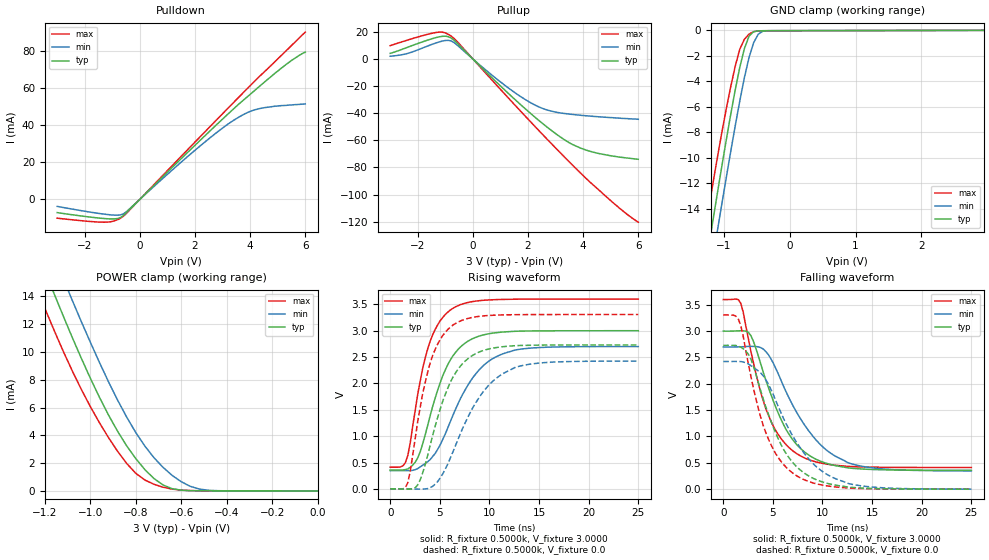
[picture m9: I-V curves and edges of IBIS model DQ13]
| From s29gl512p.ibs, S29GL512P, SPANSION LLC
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|   Model DQ13
[Model]  DQ13
Model_type I/O
Vinl =   0.9000V
Vinh =   2.1000V
Vmeas =  1.5000V
Cref =   30.0000pF
C_comp   2.0000pF   2.0000pF   2.0000pF
[Temperature Range]   25.0000   85.0000   -40.0000
[Pullup Reference]   3.0000V   2.7000V   3.6000V
[Pulldown Reference]   0.0V   0.0V   0.0V
[POWER Clamp Reference]   3.0000V   2.7000V   3.6000V
[GND Clamp Reference]   0.0V   0.0V   0.0V
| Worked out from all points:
|   slope of the pulldown table from 0 to 0.45 V, typ, clamps not added: 67.8 ohm
|   slope of the pullup table from 0 to 0.45 V, typ, clamps not added: 49.6 ohm
|   GND clamp passes 1 mA (typ) near -0.66 V on its own axis
|   POWER clamp passes 1 mA (typ) near -0.73 V on its own axis
|   rising waveform, R_fixture 0.5000k, V_fixture 3.0000: 20-80 % time 2.83ns typ, 3.85ns min, 2.22ns max; typ from 0.359 V to 3 V
|   rising waveform, R_fixture 0.5000k, V_fixture 0.0: 20-80 % time 2.88ns typ, 3.97ns min, 2.25ns max; typ from 0.001 V to 2.73 V
|   falling waveform, R_fixture 0.5000k, V_fixture 3.0000: 20-80 % time 3.6ns typ, 4.5ns min, 3.09ns max; typ from 3 V to 0.358 V
|   falling waveform, R_fixture 0.5000k, V_fixture 0.0: 20-80 % time 3.54ns typ, 4.36ns min, 3.07ns max; typ from 2.73 V to 0 V
[Pulldown]
|Voltage   I(typ)   I(min)   I(max)
-3V       -7.16mA    -3.81mA    -10.17mA
-1.2V     -10.46mA   -8.17mA    -12.3mA
-800mV    -10.33mA   -8.537mA   -10.91mA
-600mV    -8.754mA   -7.866mA   -9.131mA
2V        29.13mA    26.45mA    30.87mA
2.9V      41.85mA    37.29mA    44.61mA
3.5V      50.13mA    43.49mA    53.71mA
4V        56.56mA    47.38mA    61.25mA
4.4V      61.69mA    49.08mA    67.1mA
5.3V      72.66mA    50.63mA    80mA
5.8V      77.77mA    51.2mA     87.26mA
6V        79.3mA     51.4mA     90.15mA
[Pullup]
|Voltage   I(typ)   I(min)   I(max)
-3V       4.17mA     2.06mA     9.86mA
-2.3V     9.2mA      4.53mA     14.41mA
-1.3V     15.99mA    12.11mA    19.68mA
-1V       16.86mA    13.65mA    19.25mA
-800mV    15.59mA    13.41mA    17.03mA
1.2V      -23.73mA   -20.04mA   -26.85mA
1.9V      -36.73mA   -29.92mA   -42.19mA
2.4V      -45.46mA   -35.41mA   -52.95mA
3.3V      -59.29mA   -40.13mA   -71.85mA
3.9V      -65.65mA   -41.5mA    -84.03mA
5.3V      -72.33mA   -43.61mA   -109.8mA
6V        -73.98mA   -44.48mA   -120.4mA
[GND_clamp]
|Voltage   I(typ)   I(min)   I(max)
-3V       -75.82mA   -77.85mA   -73.15mA
-1.32V    -19.78mA   -22.68mA   -16.77mA
-1.25V    -17.52mA   -20.44mA   -14.54mA
-1.18V    -15.28mA   -18.22mA   -12.36mA
-1.11V    -13.06mA   -16.01mA   -10.24mA
-1.04V    -10.87mA   -13.83mA   -8.199mA
-830mV    -4.677mA   -7.502mA   -2.815mA
-690mV    -1.422mA   -3.703mA   -695uA
-550mV    -95.97uA   -969.5uA   -93.26uA
-480mV    -32.5uA    -297.2uA   -34.91uA
-340mV    -18.5uA    -22.15uA   -21.13uA
2.95V     9.466uA    11.01uA    6.466uA
[POWER_clamp]
|Voltage   I(typ)   I(min)   I(max)
-3V       95.7mA     96.84mA    93.74mA
-1.24V    17.48mA    20.14mA    14.74mA
-1.2V     15.84mA    18.51mA    13.14mA
-1.16V    14.22mA    16.9mA     11.59mA
-1.08V    11.07mA    13.74mA    8.666mA
-960mV    6.75mA     9.254mA    4.92mA
-840mV    3.253mA    5.318mA    1.985mA
-720mV    900.3uA    2.399mA    486.6uA
-640mV    170uA      1.126mA    139uA
-560mV    29.4uA     337.8uA    32.8uA
-480mV    15.26uA    54.7uA     17.13uA
0V        9.881uA    8.893uA    11.86uA
[Ramp]
| variable   typ   min   max
dV/dt_r  1.6375/2.8545n   1.4539/3.9316n   1.9836/2.2172n
dV/dt_f  1.5845/3.5676n   1.4116/4.4583n   1.9127/3.0531n
R_load = 0.5000k
[Rising Waveform]
R_fixture= 0.5000k
V_fixture= 3.0000
V_fixture_min= 2.7000
V_fixture_max= 3.6000
|time   V(typ)   V(min)   V(max)
0s        358.8mV    346mV      411.9mV
1.52ns    366.3mV    345.6mV    495.1mV
2.02ns    409.7mV    346.4mV    878.1mV
2.78ns    591.5mV    387.3mV    1.805V
4.04ns    1.399V     559.2mV    2.808V
5.3ns     2.15V      942.6mV    3.253V
6.06ns    2.446V     1.278V     3.393V
8.33ns    2.852V     2.111V     3.553V
11.11ns   2.971V     2.544V     3.592V
25ns      3V         2.699V     3.6V
[Rising Waveform]
R_fixture= 0.5000k
V_fixture= 0.0
V_fixture_min= 0.0
V_fixture_max= 0.0
|time   V(typ)   V(min)   V(max)
0s        891uV      857.5uV    1.024mV
1.77ns    -4.589mV   158.3uV    117.1mV
2.78ns    79.68mV    -3.471mV   1.29V
3.28ns    310.4mV    -3.023mV   1.819V
4.29ns    1.023V     50.27mV    2.537V
6.31ns    2.115V     698.9mV    3.106V
7.58ns    2.429V     1.262V     3.219V
9.34ns    2.622V     1.835V     3.28V
12.37ns   2.713V     2.284V     3.304V
25ns      2.73V      2.424V     3.307V
[Falling Waveform]
R_fixture= 0.5000k
V_fixture= 3.0000
V_fixture_min= 2.7000
V_fixture_max= 3.6000
|time   V(typ)   V(min)   V(max)
0s        2.999V     2.699V     3.599V
1.77ns    3.007V     2.702V     3.525V
2.78ns    2.915V     2.711V     2.619V
3.79ns    2.369V     2.685V     1.825V
4.8ns     1.797V     2.475V     1.293V
6.31ns    1.138V     1.856V     849.2mV
7.32ns    863.6mV    1.483V     684.4mV
9.85ns    526.2mV    834.3mV    495.5mV
12.63ns   402.7mV    497.6mV    431.8mV
25ns      358.2mV    346.3mV    411.1mV
[Falling Waveform]
R_fixture= 0.5000k
V_fixture= 0.0
V_fixture_min= 0.0
V_fixture_max= 0.0
|time   V(typ)   V(min)   V(max)
0s        2.729V     2.423V     3.306V
1.52ns    2.716V     2.423V     3.228V
2.53ns    2.562V     2.376V     2.378V
3.54ns    2.019V     2.244V     1.528V
4.55ns    1.425V     1.995V     951.5mV
5.81ns    849.6mV    1.453V     529.4mV
7.07ns    490.4mV    986mV      295.6mV
9.34ns    182.6mV    433.4mV    103.9mV
12.63ns   39.18mV    106.5mV    20.71mV
25ns      183.3uV    729.2uV    74.58uV
